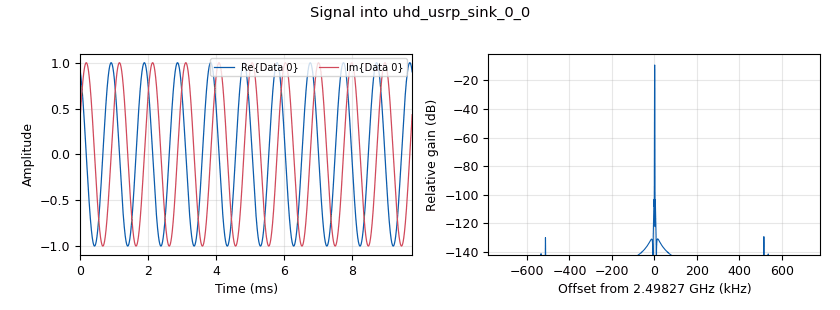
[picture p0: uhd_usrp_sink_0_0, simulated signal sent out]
<?xml version='1.0' encoding='utf-8'?>
<?grc format='1' created='3.7.8'?>
<flow_graph>
<block>
<key>options</key>
<param><key>id</key><value>calibration_example_gui</value></param>
<param><key>author</key><value>Travis Collins</value></param>
<param><key>category</key><value>Custom</value></param>
<param><key>description</key><value>WiFiUS Project</value></param>
<param><key>generate_options</key><value>qt_gui</value></param>
<param><key>title</key><value>Calibration Example</value></param>
</block>
<block>
<key>variable</key>
<param><key>id</key><value>antenna_spacing</value></param>
<param><key>value</key><value>0.06</value></param>
</block>
<block>
<key>variable</key>
<param><key>id</key><value>cal_freq</value></param>
<param><key>value</key><value>1024</value></param>
</block>
<block>
<key>variable</key>
<param><key>id</key><value>center_freq</value></param>
<param><key>value</key><value>speed_of_light/(2*antenna_spacing)</value></param>
</block>
<block>
<key>variable</key>
<param><key>id</key><value>center_freq</value></param>
<param><key>_enabled</key><value>0</value></param>
<param><key>value</key><value>2.4e9</value></param>
</block>
<block>
<key>variable</key>
<param><key>id</key><value>gain_rx</value></param>
<param><key>value</key><value>0</value></param>
</block>
<block>
<key>variable</key>
<param><key>id</key><value>samp_rate</value></param>
<param><key>value</key><value>100000000/64</value></param>
</block>
<block>
<key>variable</key>
<param><key>id</key><value>speed_of_light</value></param>
<param><key>value</key><value>299792458</value></param>
</block>
<block>
<key>variable_qtgui_chooser</key>
<param><key>id</key><value>variable_qtgui_chooser_0_0</value></param>
<param><key>value</key><value>0</value></param>
<param><key>label0</key><value>Enable</value></param>
<param><key>label1</key><value>Disable</value></param>
<param><key>label</key><value>Source Enable</value></param>
<param><key>num_opts</key><value>2</value></param>
<param><key>option0</key><value>0</value></param>
<param><key>option1</key><value>1</value></param>
<param><key>type</key><value>int</value></param>
<param><key>widget</key><value>radio_buttons</value></param>
</block>
<block>
<key>variable_qtgui_chooser</key>
<param><key>id</key><value>variable_qtgui_chooser_0_0_0</value></param>
<param><key>value</key><value>1</value></param>
<param><key>label0</key><value>Enable</value></param>
<param><key>label1</key><value>Disable</value></param>
<param><key>label</key><value>Transmitter Enable</value></param>
<param><key>num_opts</key><value>2</value></param>
<param><key>option0</key><value>0</value></param>
<param><key>option1</key><value>1</value></param>
<param><key>type</key><value>int</value></param>
<param><key>widget</key><value>radio_buttons</value></param>
</block>
<block>
<key>variable_qtgui_chooser</key>
<param><key>id</key><value>variable_qtgui_chooser_0_1_0</value></param>
<param><key>value</key><value>0</value></param>
<param><key>label0</key><value>Stop</value></param>
<param><key>label1</key><value>Running</value></param>
<param><key>label</key><value>Sync System</value></param>
<param><key>num_opts</key><value>2</value></param>
<param><key>option0</key><value>1</value></param>
<param><key>option1</key><value>0</value></param>
<param><key>orient</key><value>Qt.QHBoxLayout</value></param>
<param><key>type</key><value>real</value></param>
</block>
<block>
<key>variable_qtgui_chooser</key>
<param><key>id</key><value>variable_qtgui_chooser_0_1_1</value></param>
<param><key>value</key><value>1</value></param>
<param><key>label0</key><value>Not Started</value></param>
<param><key>label1</key><value>Start Save</value></param>
<param><key>label</key><value>Trigger Data Save</value></param>
<param><key>num_opts</key><value>2</value></param>
<param><key>option0</key><value>1</value></param>
<param><key>option1</key><value>0</value></param>
<param><key>orient</key><value>Qt.QHBoxLayout</value></param>
<param><key>type</key><value>real</value></param>
<param><key>widget</key><value>radio_buttons</value></param>
</block>
<block>
<key>analog_sig_source_x</key>
<param><key>id</key><value>analog_sig_source_x_0</value></param>
<param><key>amp</key><value>1</value></param>
<param><key>freq</key><value>cal_freq</value></param>
<param><key>offset</key><value>0</value></param>
<param><key>type</key><value>complex</value></param>
<param><key>samp_rate</key><value>samp_rate</value></param>
<param><key>waveform</key><value>analog.GR_COS_WAVE</value></param>
</block>
<block>
<key>analog_sig_source_x</key>
<param><key>id</key><value>analog_sig_source_x_0_0</value></param>
<param><key>amp</key><value>1</value></param>
<param><key>freq</key><value>cal_freq</value></param>
<param><key>offset</key><value>0</value></param>
<param><key>type</key><value>complex</value></param>
<param><key>samp_rate</key><value>samp_rate</value></param>
<param><key>waveform</key><value>analog.GR_COS_WAVE</value></param>
</block>
<block>
<key>blks2_valve</key>
<param><key>id</key><value>blks2_valve_0</value></param>
<param><key>open</key><value>variable_qtgui_chooser_0_0</value></param>
<param><key>type</key><value>complex</value></param>
<param><key>vlen</key><value>1</value></param>
</block>
<block>
<key>blks2_valve</key>
<param><key>id</key><value>blks2_valve_0_0</value></param>
<param><key>open</key><value>variable_qtgui_chooser_0_0_0</value></param>
<param><key>type</key><value>complex</value></param>
<param><key>vlen</key><value>1</value></param>
</block>
<block>
<key>blocks_message_strobe</key>
<param><key>id</key><value>blocks_message_strobe_0</value></param>
<param><key>msg</key><value>pmt.from_double(variable_qtgui_chooser_0_1_0)</value></param>
<param><key>period</key><value>1000</value></param>
</block>
<block>
<key>blocks_message_strobe</key>
<param><key>id</key><value>blocks_message_strobe_0_0</value></param>
<param><key>_enabled</key><value>0</value></param>
<param><key>msg</key><value>pmt.from_double(variable_qtgui_chooser_0_1_1)</value></param>
<param><key>period</key><value>1000</value></param>
</block>
<block>
<key>blocks_moving_average_xx</key>
<param><key>id</key><value>blocks_moving_average_xx_0</value></param>
<param><key>_enabled</key><value>0</value></param>
<param><key>length</key><value>1000</value></param>
<param><key>max_iter</key><value>4000</value></param>
<param><key>scale</key><value>1/1000</value></param>
<param><key>type</key><value>float</value></param>
</block>
<block>
<key>doa_hier</key>
<param><key>id</key><value>doa_hier_0</value></param>
<param><key>_enabled</key><value>0</value></param>
</block>
<block>
<key>phase_calib_hier</key>
<param><key>id</key><value>phase_calib_hier_0</value></param>
<param><key>cal_freq</key><value>cal_freq</value></param>
<param><key>samp_rate</key><value>samp_rate</value></param>
</block>
<block>
<key>qtgui_time_sink_x</key>
<param><key>id</key><value>qtgui_time_sink_x_0</value></param>
<param><key>ctrlpanel</key><value>True</value></param>
<param><key>_enabled</key><value>0</value></param>
<param><key>color1</key><value>"blue"</value></param>
<param><key>label1</key><value></value></param>
<param><key>color2</key><value>"red"</value></param>
<param><key>label2</key><value></value></param>
<param><key>nconnections</key><value>2</value></param>
<param><key>size</key><value>32</value></param>
<param><key>srate</key><value>samp_rate</value></param>
<param><key>type</key><value>float</value></param>
<param><key>ymax</key><value>80</value></param>
<param><key>ymin</key><value>-80</value></param>
</block>
<block>
<key>real_time_scope_hier</key>
<param><key>id</key><value>real_time_scope_hier_0</value></param>
<param><key>_enabled</key><value>0</value></param>
<param><key>gui_hint</key><value>tab@0</value></param>
<param><key>npoints</key><value>100</value></param>
<param><key>samp_rate</key><value>samp_rate</value></param>
</block>
<block>
<key>real_time_scope_hier</key>
<param><key>id</key><value>real_time_scope_hier_0_0_0</value></param>
<param><key>gui_hint</key><value>tab@2</value></param>
<param><key>npoints</key><value>1000</value></param>
<param><key>samp_rate</key><value>samp_rate</value></param>
</block>
<block>
<key>qtgui_tab_widget</key>
<param><key>id</key><value>tab</value></param>
<param><key>label0</key><value>Input</value></param>
<param><key>label1</key><value>Post Gain Correct</value></param>
<param><key>label2</key><value>Post Phase Correct</value></param>
<param><key>num_tabs</key><value>3</value></param>
</block>
<block>
<key>uhd_usrp_sink</key>
<param><key>id</key><value>uhd_usrp_sink_0_0</value></param>
<param><key>ant0</key><value></value></param>
<param><key>center_freq0</key><value>center_freq</value></param>
<param><key>norm_gain0</key><value>False</value></param>
<param><key>gain0</key><value>10</value></param>
<param><key>clock_rate</key><value>0.0</value></param>
<param><key>dev_addr</key><value>"addr=192.168.40.2"</value></param>
<param><key>dev_args</key><value>""</value></param>
<param><key>type</key><value>fc32</value></param>
<param><key>len_tag_name</key><value></value></param>
<param><key>samp_rate</key><value>samp_rate</value></param>
<param><key>sync</key><value>pc_clock</value></param>
</block>
<block>
<key>uhd_usrp_sink</key>
<param><key>id</key><value>uhd_usrp_sink_0_0_0</value></param>
<param><key>ant0</key><value></value></param>
<param><key>center_freq0</key><value>center_freq</value></param>
<param><key>norm_gain0</key><value>False</value></param>
<param><key>gain0</key><value>30</value></param>
<param><key>clock_rate</key><value>0.0</value></param>
<param><key>dev_addr</key><value>"addr=192.168.90.2"</value></param>
<param><key>dev_args</key><value>""</value></param>
<param><key>type</key><value>fc32</value></param>
<param><key>len_tag_name</key><value></value></param>
<param><key>samp_rate</key><value>samp_rate</value></param>
<param><key>sync</key><value>pc_clock</value></param>
</block>
<block>
<key>uhd_usrp_source</key>
<param><key>id</key><value>uhd_usrp_source_0_0</value></param>
<param><key>ant0</key><value></value></param>
<param><key>center_freq0</key><value>center_freq</value></param>
<param><key>norm_gain0</key><value>False</value></param>
<param><key>gain0</key><value>gain_rx</value></param>
<param><key>ant1</key><value></value></param>
<param><key>center_freq1</key><value>center_freq</value></param>
<param><key>norm_gain1</key><value>False</value></param>
<param><key>gain1</key><value>gain_rx</value></param>
<param><key>ant2</key><value></value></param>
<param><key>center_freq2</key><value>center_freq</value></param>
<param><key>norm_gain2</key><value>False</value></param>
<param><key>gain2</key><value>gain_rx</value></param>
<param><key>ant3</key><value></value></param>
<param><key>center_freq3</key><value>center_freq</value></param>
<param><key>norm_gain3</key><value>False</value></param>
<param><key>gain3</key><value>gain_rx</value></param>
<param><key>clock_rate</key><value>0.0</value></param>
<param><key>comment</key><value>3/4 USRP Sync with External Clock</value></param>
<param><key>dev_addr</key><value>"addr0=192.168.70.2,addr1=192.168.20.2,addr2=192.168.30.2,addr3=192.168.50.2"</value></param>
<param><key>dev_args</key><value>""</value></param>
<param><key>clock_source0</key><value>external</value></param>
<param><key>time_source0</key><value>external</value></param>
<param><key>clock_source1</key><value>external</value></param>
<param><key>time_source1</key><value>external</value></param>
<param><key>clock_source2</key><value>external</value></param>
<param><key>time_source2</key><value>external</value></param>
<param><key>clock_source3</key><value>external</value></param>
<param><key>time_source3</key><value>external</value></param>
<param><key>nchan</key><value>4</value></param>
<param><key>num_mboards</key><value>4</value></param>
<param><key>type</key><value>fc32</value></param>
<param><key>samp_rate</key><value>samp_rate</value></param>
<param><key>sync</key><value>pc_clock</value></param>
</block>
<connection><source_block_id>analog_sig_source_x_0</source_block_id><sink_block_id>blks2_valve_0</sink_block_id><source_key>0</source_key><sink_key>0</sink_key></connection>
<connection><source_block_id>analog_sig_source_x_0_0</source_block_id><sink_block_id>blks2_valve_0_0</sink_block_id><source_key>0</source_key><sink_key>0</sink_key></connection>
<connection><source_block_id>blks2_valve_0</source_block_id><sink_block_id>uhd_usrp_sink_0_0</sink_block_id><source_key>0</source_key><sink_key>0</sink_key></connection>
<connection><source_block_id>blks2_valve_0_0</source_block_id><sink_block_id>uhd_usrp_sink_0_0_0</sink_block_id><source_key>0</source_key><sink_key>0</sink_key></connection>
<connection><source_block_id>blocks_message_strobe_0</source_block_id><sink_block_id>phase_calib_hier_0</sink_block_id><source_key>strobe</source_key><sink_key>in</sink_key></connection>
<connection><source_block_id>blocks_moving_average_xx_0</source_block_id><sink_block_id>qtgui_time_sink_x_0</sink_block_id><source_key>0</source_key><sink_key>0</sink_key></connection>
<connection><source_block_id>doa_hier_0</source_block_id><sink_block_id>blocks_moving_average_xx_0</sink_block_id><source_key>0</source_key><sink_key>0</sink_key></connection>
<connection><source_block_id>doa_hier_0</source_block_id><sink_block_id>qtgui_time_sink_x_0</sink_block_id><source_key>0</source_key><sink_key>1</sink_key></connection>
<connection><source_block_id>phase_calib_hier_0</source_block_id><sink_block_id>real_time_scope_hier_0_0_0</sink_block_id><source_key>0</source_key><sink_key>0</sink_key></connection>
<connection><source_block_id>phase_calib_hier_0</source_block_id><sink_block_id>real_time_scope_hier_0_0_0</sink_block_id><source_key>1</source_key><sink_key>1</sink_key></connection>
<connection><source_block_id>phase_calib_hier_0</source_block_id><sink_block_id>real_time_scope_hier_0_0_0</sink_block_id><source_key>2</source_key><sink_key>2</sink_key></connection>
<connection><source_block_id>phase_calib_hier_0</source_block_id><sink_block_id>real_time_scope_hier_0_0_0</sink_block_id><source_key>3</source_key><sink_key>3</sink_key></connection>
<connection><source_block_id>uhd_usrp_source_0_0</source_block_id><sink_block_id>doa_hier_0</sink_block_id><source_key>0</source_key><sink_key>0</sink_key></connection>
<connection><source_block_id>uhd_usrp_source_0_0</source_block_id><sink_block_id>phase_calib_hier_0</sink_block_id><source_key>0</source_key><sink_key>0</sink_key></connection>
<connection><source_block_id>uhd_usrp_source_0_0</source_block_id><sink_block_id>real_time_scope_hier_0</sink_block_id><source_key>0</source_key><sink_key>0</sink_key></connection>
<connection><source_block_id>uhd_usrp_source_0_0</source_block_id><sink_block_id>phase_calib_hier_0</sink_block_id><source_key>1</source_key><sink_key>1</sink_key></connection>
<connection><source_block_id>uhd_usrp_source_0_0</source_block_id><sink_block_id>real_time_scope_hier_0</sink_block_id><source_key>1</source_key><sink_key>1</sink_key></connection>
<connection><source_block_id>uhd_usrp_source_0_0</source_block_id><sink_block_id>phase_calib_hier_0</sink_block_id><source_key>2</source_key><sink_key>2</sink_key></connection>
<connection><source_block_id>uhd_usrp_source_0_0</source_block_id><sink_block_id>real_time_scope_hier_0</sink_block_id><source_key>2</source_key><sink_key>2</sink_key></connection>
<connection><source_block_id>uhd_usrp_source_0_0</source_block_id><sink_block_id>phase_calib_hier_0</sink_block_id><source_key>3</source_key><sink_key>3</sink_key></connection>
<connection><source_block_id>uhd_usrp_source_0_0</source_block_id><sink_block_id>real_time_scope_hier_0</sink_block_id><source_key>3</source_key><sink_key>3</sink_key></connection>
</flow_graph>
